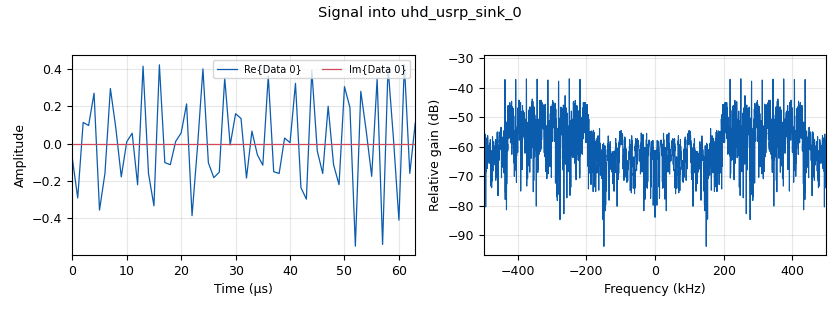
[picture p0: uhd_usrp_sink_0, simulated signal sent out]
options:
  parameters:
    author: keremenhos
    generate_options: qt_gui
    id: OFDM_1
    output_language: python
    title: OFDM_1
  states: {}

blocks:
- name: Data
  id: variable
  parameters:
    value: numpy.array(numpy.random.randint(M,size=(data_sc//2)*spf))
  states: {}
- name: M
  id: variable
  parameters:
    value: '4'
  states: {}
- name: data_sc
  id: variable
  parameters:
    value: '16'
  states: {}
- name: dsc
  id: variable
  parameters:
    value: numpy.sort(list(pdsc*-1) + list(pdsc))
  states: {}
- name: fft_len
  id: variable
  parameters:
    value: '64'
  states: {}
- name: guard
  id: variable
  parameters:
    value: fft_len-null-data_sc-pilot_sc
  states: {}
- name: noise
  id: variable_qtgui_range
  parameters:
    gui_hint: 2,2,1,2
    label: Noise Power
    orient: Qt.Horizontal
    start: '-30'
    step: '0.5'
    stop: '10'
    value: '-30'
  states: {}
- name: 'null'
  id: variable
  parameters:
    value: '25'
  states: {}
- name: pck_len
  id: variable
  parameters:
    value: '4096'
  states: {}
- name: pdsc
  id: variable
  parameters:
    value: |
      numpy.delete((numpy.arange((data_sc+pilot_sc)//2)+1+(null//2)),((numpy.arange((data_sc+pilot_sc)//2)+1+(null//2))[:, None] == ppsc).argmax(axis=0))
  states: {}
- name: pilot_sc
  id: variable
  parameters:
    value: '16'
  states: {}
- name: pilot_symbols
  id: variable
  parameters:
    value: numpy.array(numpy.random.randint(2,size=pilot_sc//2))*2 -1
  states: {}
- name: ppsc
  id: variable
  parameters:
    value: numpy.arange(-1*((data_sc+pilot_sc)//(pilot_sc*2)),((data_sc+pilot_sc)/2),((data_sc+pilot_sc)/pilot_sc))[numpy.arange(-1*((data_sc+pilot_sc)//(pilot_sc*2)),((data_sc+pilot_sc)/2),((data_sc+pilot_sc)/pilot_sc))>0].astype(int)+1+(null//2)
  states: {}
- name: ps
  id: variable
  parameters:
    value: list(numpy.flip(pilot_symbols)) + list(pilot_symbols)
  states: {}
- name: psc
  id: variable
  parameters:
    value: numpy.sort(list(ppsc*-1) + list(ppsc))
  states: {}
- name: samp_rate
  id: variable
  parameters:
    value: '1000000'
  states: {}
- name: spf
  id: variable
  parameters:
    value: (pck_len-510)//fft_len
  states: {}
- name: blocks_complex_to_float_1
  id: blocks_complex_to_float
  parameters: {}
  states: {}
- name: blocks_complex_to_mag_squared_0
  id: blocks_complex_to_mag_squared
  parameters: {}
  states: {state: disabled}
- name: blocks_float_to_complex_0
  id: blocks_float_to_complex
  parameters: {}
  states: {}
- name: blocks_float_to_complex_1
  id: blocks_float_to_complex
  parameters: {}
  states: {}
- name: blocks_keep_m_in_n_1
  id: blocks_keep_m_in_n
  parameters:
    m: fft_len*spf
    n: pck_len
    offset: '1'
    type: float
  states: {}
- name: blocks_multiply_const_vxx_0
  id: blocks_multiply_const_vxx
  parameters:
    const: 1/25
    type: complex
  states: {}
- name: blocks_null_sink_1
  id: blocks_null_sink
  parameters:
    type: complex
  states: {}
- name: blocks_stream_to_tagged_stream_0
  id: blocks_stream_to_tagged_stream
  parameters:
    len_tag_key: packet_len
    packet_len: '510'
    type: float
  states: {}
- name: blocks_stream_to_tagged_stream_0_0_0_0_0_0
  id: blocks_stream_to_tagged_stream
  parameters:
    len_tag_key: '"frame_len"'
    packet_len: data_sc
    type: complex
  states: {}
- name: blocks_stream_to_tagged_stream_1
  id: blocks_stream_to_tagged_stream
  parameters:
    len_tag_key: '"packet_len"'
    packet_len: fft_len*spf
    type: complex
  states: {}
- name: blocks_stream_to_tagged_stream_3
  id: blocks_stream_to_tagged_stream
  parameters:
    len_tag_key: sym
    packet_len: '1'
    type: complex
    vlen: fft_len
  states: {}
- name: blocks_stream_to_vector_0_0
  id: blocks_stream_to_vector
  parameters:
    num_items: fft_len
    type: complex
  states: {}
- name: blocks_tag_gate_0
  id: blocks_tag_gate
  parameters:
    propagate_tags: 'False'
    type: float
  states: {}
- name: blocks_tag_gate_1
  id: blocks_tag_gate
  parameters:
    propagate_tags: 'False'
    single_key: '"sym"'
    type: complex
  states: {}
- name: blocks_tagged_stream_mux_1
  id: blocks_tagged_stream_mux
  parameters:
    lengthtagname: packet_len
    ninputs: '2'
    type: complex
  states: {}
- name: blocks_vector_source_x_0_1
  id: blocks_vector_source_x
  parameters:
    repeat: 'True'
    type: float
    vector: '[-1,-1,-1,-1,-1,-1,-1,-1,1,-1,-1,-1,1,-1,-1,-1,1,1,-1,-1,1,-1,-1,-1,1,1,1,-1,1,-1,1,-1,1,1,-1,1,1,-1,-1,-1,1,1,1,-1,-1,-1,1,-1,-1,1,-1,1,-1,1,-1,-1,-1,1,1,-1,1,1,-1,-1,1,1,1,1,1,-1,-1,1,1,1,1,-1,-1,-1,1,-1,1,1,-1,1,1,1,-1,-1,1,-1,1,-1,-1,1,-1,-1,-1,-1,-1,1,-1,-1,1,1,-1,-1,1,1,1,-1,1,-1,-1,-1,1,1,1,1,1,-1,1,1,1,1,-1,-1,-1,-1,-1,1,1,1,1,1,1,1,1,1,-1,-1,-1,-1,1,1,1,1,-1,1,1,1,-1,-1,-1,-1,1,-1,1,1,-1,-1,1,1,-1,1,1,-1,1,1,1,1,-1,1,-1,-1,-1,-1,1,1,1,-1,-1,1,1,-1,-1,-1,-1,1,-1,-1,1,-1,-1,-1,1,-1,1,-1,1,1,1,-1,1,-1,1,1,1,1,-1,-1,1,-1,-1,1,-1,1,1,1,-1,-1,1,1,1,-1,-1,-1,-1,-1,-1,1,1,1,-1,1,1,1,-1,1,-1,-1,1,1,1,1,-1,1,-1,1,-1,-1,1,-1,1,-1,-1,-1,-1,-1,-1,1,-1,1,-1,1,-1,1,-1,1,1,1,1,1,-1,1,-1,1,1,-1,1,-1,-1,-1,-1,-1,1,1,-1,1,1,1,-1,1,1,-1,1,1,-1,1,-1,1,1,-1,-1,-1,-1,-1,1,-1,1,1,1,-1,1,1,1,1,1,-1,-1,-1,1,1,1,1,-1,-1,1,1,-1,1,-1,-1,1,1,-1,1,-1,1,1,1,-1,-1,-1,1,1,-1,1,-1,-1,-1,1,-1,1,1,1,1,1,1,1,-1,1,-1,-1,1,-1,1,1,-1,-1,-1,1,-1,1,-1,-1,1,1,-1,-1,-1,1,1,-1,-1,-1,-1,-1,-1,-1,1,1,-1,-1,1,1,-1,-1,1,-1,1,-1,1,1,-1,-1,1,-1,-1,1,1,1,1,1,1,-1,1,1,-1,1,-1,-1,1,-1,-1,1,-1,-1,1,1,-1,1,1,1,1,1,1,-1,-1,1,-1,1,1,-1,1,-1,1,-1,-1,-1,-1,1,-1,1,-1,-1,-1,1,-1,-1,1,1,1,-1,1,1,-1,-1,1,-1,1,1,1,1,-1,1,1,-1,-1,-1,-1,1,1,-1,1,-1,1,-1,1,-1,-1,1,1,1,-1,-1,1,-1,-1,-1,-1,1,1,-1,-1,-1,1,-1,-1,-1,-1]'
  states: {}
- name: blocks_vector_to_stream_0
  id: blocks_vector_to_stream
  parameters:
    num_items: fft_len
    type: complex
  states: {}
- name: blocks_vector_to_stream_0_0
  id: blocks_vector_to_stream
  parameters:
    num_items: fft_len
    type: complex
  states: {}
- name: digital_corr_est_cc_0
  id: digital_corr_est_cc
  parameters:
    mark_delay: '509'
    sps: '1'
    symbols: '[-1,-1,-1,-1,-1,-1,-1,-1,1,-1,-1,-1,1,-1,-1,-1,1,1,-1,-1,1,-1,-1,-1,1,1,1,-1,1,-1,1,-1,1,1,-1,1,1,-1,-1,-1,1,1,1,-1,-1,-1,1,-1,-1,1,-1,1,-1,1,-1,-1,-1,1,1,-1,1,1,-1,-1,1,1,1,1,1,-1,-1,1,1,1,1,-1,-1,-1,1,-1,1,1,-1,1,1,1,-1,-1,1,-1,1,-1,-1,1,-1,-1,-1,-1,-1,1,-1,-1,1,1,-1,-1,1,1,1,-1,1,-1,-1,-1,1,1,1,1,1,-1,1,1,1,1,-1,-1,-1,-1,-1,1,1,1,1,1,1,1,1,1,-1,-1,-1,-1,1,1,1,1,-1,1,1,1,-1,-1,-1,-1,1,-1,1,1,-1,-1,1,1,-1,1,1,-1,1,1,1,1,-1,1,-1,-1,-1,-1,1,1,1,-1,-1,1,1,-1,-1,-1,-1,1,-1,-1,1,-1,-1,-1,1,-1,1,-1,1,1,1,-1,1,-1,1,1,1,1,-1,-1,1,-1,-1,1,-1,1,1,1,-1,-1,1,1,1,-1,-1,-1,-1,-1,-1,1,1,1,-1,1,1,1,-1,1,-1,-1,1,1,1,1,-1,1,-1,1,-1,-1,1,-1,1,-1,-1,-1,-1,-1,-1,1,-1,1,-1,1,-1,1,-1,1,1,1,1,1,-1,1,-1,1,1,-1,1,-1,-1,-1,-1,-1,1,1,-1,1,1,1,-1,1,1,-1,1,1,-1,1,-1,1,1,-1,-1,-1,-1,-1,1,-1,1,1,1,-1,1,1,1,1,1,-1,-1,-1,1,1,1,1,-1,-1,1,1,-1,1,-1,-1,1,1,-1,1,-1,1,1,1,-1,-1,-1,1,1,-1,1,-1,-1,-1,1,-1,1,1,1,1,1,1,1,-1,1,-1,-1,1,-1,1,1,-1,-1,-1,1,-1,1,-1,-1,1,1,-1,-1,-1,1,1,-1,-1,-1,-1,-1,-1,-1,1,1,-1,-1,1,1,-1,-1,1,-1,1,-1,1,1,-1,-1,1,-1,-1,1,1,1,1,1,1,-1,1,1,-1,1,-1,-1,1,-1,-1,1,-1,-1,1,1,-1,1,1,1,1,1,1,-1,-1,1,-1,1,1,-1,1,-1,1,-1,-1,-1,-1,1,-1,1,-1,-1,-1,1,-1,-1,1,1,1,-1,1,1,-1,-1,1,-1,1,1,1,1,-1,1,1,-1,-1,-1,-1,1,1,-1,1,-1,1,-1,1,-1,-1,1,1,1,-1,-1,1,-1,-1,-1,-1,1,1,-1,-1,-1,1,-1,-1,-1,-1]'
    threshold: '0.03'
    threshold_method: digital.THRESHOLD_ABSOLUTE
  states: {}
- name: digital_ofdm_carrier_allocator_cvc_0
  id: digital_ofdm_carrier_allocator_cvc
  parameters:
    fft_len: fft_len
    len_tag_key: '"frame_len"'
    occupied_carriers: ((dsc) ,)
    output_is_shifted: 'True'
    pilot_carriers: ((psc),)
    pilot_symbols: ((ps),)
    sync_words: '[]'
  states: {}
- name: epy_block_0
  id: epy_block
  parameters:
    M: M
    _source_code: |
      """
      Embedded Python Blocks:

      Each time this file is saved, GRC will instantiate the first class it finds
      to get ports and parameters of your block. The arguments to __init__  will
      be the parameters. All of them are required to have default values!
      """

      import numpy as np
      import time
      from gnuradio import gr


      class blk(gr.sync_block):  # other base classes are basic_block, decim_block, interp_block
          """Embedded Python Block example - a simple multiply const"""

          def __init__(self, data=[], M=4, data_subcarrier=1, pilot_subcarrier=1, null_subcarrier=1, guard_subcarrier = 1, fft_size = 64, pilot_symbols=[], spf = 1):  # only default arguments here
              """arguments to this function show up as parameters in GRC"""
              gr.sync_block.__init__(
                  self,
                  name='OFDM Frame Generator',   # will show up in GRC
                  in_sig=[],
                  out_sig=[np.complex64]
              )
              self.M = M
              self.c = 0
              self.data = data
              self.data_subcarrier = data_subcarrier
              self.pilot_subcarrier = pilot_subcarrier
              self.null_subcarrier = null_subcarrier
              self.guard_subcarrier = guard_subcarrier
              self.fft_size = fft_size
              self.l = (len(self.data)//((self.data_subcarrier)/2))-1
              self.d = ((self.data_subcarrier+self.pilot_subcarrier)//2)
              self.data_buf = np.zeros(len(self.data), dtype=complex)
              self.pilot_symbols = pilot_symbols
              self.out_buf = np.zeros(len(self.data)*2, dtype=complex)
              self.spf = spf
              self.flg = 0
              
          def modulat(self, MO):
              n = np.arange(0,MO)
              a = np.asarray([x^(x>>1) for x in n])
              D = np.sqrt(MO).astype(int)
              a = np.reshape(a,(D,D))
              a[1::2, :] = a[1::2, ::-1]
              nGray=np.reshape(a,(MO))
              x1 = nGray//D
              y = nGray%D
              Ay=2*y+1-D
              Ax=2*x1+1-D
              cons = Ax+1j*Ay
              cons = cons/np.max(np.absolute((np.real(cons))))
              return cons
              
      #    def pilot_generator(self, psc, pd):
      #        pp = np.zeros(psc, dtype=complex)
      #        for i in range(psc):
      #            if pd[i] == 1:
      #                pp[i] = 1+0*1j
      #            else:
      #                pp[i] = -1+0*1j
      #        return pp

          def work(self, input_items, output_items):
              
              if self.flg == 0:
                  self.flg = 1
                  self.cons = self.modulat(self.M)
      #            self.ppos = np.arange(-1*((self.data_subcarrier+self.pilot_subcarrier)//(self.pilot_subcarrier*2)),((self.data_subcarrier+self.pilot_subcarrier)/2),((self.data_subcarrier+self.pilot_subcarrier)/self.pilot_subcarrier))
      #            self.ppos = self.ppos[self.ppos>0]
      #            self.pilots = self.pilot_generator(self.pilot_subcarrier//2, self.pilot_symbols)
              
              out = output_items[0]
              
              if len(out)<len(self.data):
      #            print(' ')
      #            print(len(out))
                  return 0
              
              for x in range(len(self.data)):
                  self.data_buf[x] = self.cons[self.data[x]]

              for z in range(self.spf*(self.data_subcarrier//2)):
                  self.out_buf[z*self.data_subcarrier:(z+1)*self.data_subcarrier] = list(np.conj(np.flip(self.data_buf[z*self.data_subcarrier//2:(z+1)*self.data_subcarrier//2]))) + list(self.data_buf[z*self.data_subcarrier//2:(z+1)*self.data_subcarrier//2])

              out[:(len(out)//len(self.out_buf))*len(self.out_buf)] = list(self.out_buf)*(len(out)//len(self.out_buf))
              return (len(out)//len(self.out_buf))*len(self.out_buf)
    data: Data
    data_subcarrier: data_sc
    fft_size: fft_len
    guard_subcarrier: guard
    null_subcarrier: 'null'
    pilot_subcarrier: pilot_sc
    pilot_symbols: pilot_symbols
    spf: spf
  states: {}
- name: epy_block_1
  id: epy_block
  parameters:
    _source_code: |
      import time
      import random
      import numpy as np

      from gnuradio import gr
      from gnuradio import gr_unittest
      from gnuradio import digital
      from gnuradio import blocks
      from gnuradio import grc
      import pmt
      import inspect

      class blk(gr.basic_block):
          def __init__(self, frame_length=1):
              
              gr.basic_block.__init__(
                  self,
                  name="Preamble Demux",
                  in_sig=[np.float32],
                  out_sig=[np.float32]
              )
              self.a = 0
              self.aa = 0
              self.buf = []
              self.off = 0
              self.det = 0
              self.flg2 = 0
              self.b = 0
              self.frame_length = frame_length
              
          def forecast(self, noutput_items, ninput_items_required):
              #setup size of input_items[i] for work call
              for i in range(len(ninput_items_required)):
                  ninput_items_required[i] = 4096
                  
          def general_work(self, input_items, output_items):
              in0 = input_items[0]
              out = output_items[0]
              
              if self.det == 0:
                  tags = self.get_tags_in_window(0, 0, len(in0))
                  for tag in tags:
                      offset = tag.offset
                      key = pmt.to_python(tag.key) # convert from PMT to python string
                      if key == 'corr_est':
                          self.off = offset
                          self.det = 1
                          self.flg2 = 0
                          self.buf.extend(in0[(self.off-self.aa)+1:])
                          break
                  if self.det == 0:
                      self.b = 0
                          
              if len(self.buf)<self.frame_length and self.det == 1 and self.flg2 == 1:
                  self.buf.extend(in0)
              
              if len(self.buf)>=self.frame_length and self.det == 1 and len(out)>=self.frame_length:
                  out[:self.frame_length] = self.buf[:self.frame_length]
                  if len(self.buf) == self.frame_length:
                      self.buf = []
                      self.det = 0
                      self.b = 1
                  else:
                      tags = self.get_tags_in_window(0, 0, len(in0))
                      for tag in tags:
                          self.offset2 = tag.offset
                          key = pmt.to_python(tag.key) # convert from PMT to python string
                          if key == 'corr_est':
                              if self.offset2 == self.off:
                                  self.buf = []
                                  self.det = 0
                                  self.b = 1
                                  break
                              else:
                                  self.off = self.offset2
                                  self.det = 1
                                  self.flg2 = 0
                                  self.buf=[]
                                  self.buf.extend(in0[(self.off-self.aa)+1:])
                                  self.b = 1
                                  break

              self.flg2 = 1
              self.aa = self.aa + len(in0)
              
              self.consume(0, len(in0)) #consume port 0 input
              
              if self.b == 0:
                  return 0
              else:
                  return self.frame_length
    frame_length: pck_len
  states: {}
- name: epy_block_2
  id: epy_block
  parameters:
    M: '4'
    _source_code: |
      """
      Embedded Python Blocks:

      Each time this file is saved, GRC will instantiate the first class it finds
      to get ports and parameters of your block. The arguments to __init__  will
      be the parameters. All of them are required to have default values!
      """

      import time
      import random
      import numpy as np

      from gnuradio import gr
      from gnuradio import gr_unittest
      from gnuradio import digital
      from gnuradio import blocks
      from gnuradio import grc
      from scipy import interpolate
      import pmt
      import inspect


      class blk(gr.basic_block):  # other base classes are basic_block, decim_block, interp_block
          """Embedded Python Block example - a simple multiply const"""

          def __init__(self, M=4, data_subcarrier=1, pilot_subcarrier=1, null_subcarrier=1, guard_subcarrier = 1, fft_size = 64, pilot_symbols=[], symbols_per_frame=1):  # only default arguments here
              """arguments to this function show up as parameters in GRC"""
              gr.basic_block.__init__(
                  self,
                  name='OFDM Receiver',   # will show up in GRC
                  in_sig=[np.complex64],
                  out_sig=[np.complex64]
              )
              # if an attribute with the same name as a parameter is found,
              # a callback is registered (properties work, too).
              self.M = M
              self.data_sc = data_subcarrier
              self.pilot_sc = pilot_subcarrier
              self.null_sc = null_subcarrier
              self.guard_sc = guard_subcarrier
              self.ffts = fft_size
              self.pilot_sym = pilot_symbols
              self.aa = 0
              self.out_buf = []
              self.data_out_buf = []
              self.sym_n = 0
              self.spf = symbols_per_frame
              self.flg = 0
              self.flg2 = 0
      #        self.n_sc = (self.data_sc+self.pilot_sc)/2
              self.n_grd = self.guard_sc//2

          def forecast(self, noutput_items, ninput_items_required):
              #setup size of input_items[i] for work call
              for i in range(len(ninput_items_required)):
                  ninput_items_required[i] = 4096
                  
          def pilot_generator(self, psc, pd):
              pp = np.zeros(psc, dtype=complex)
              for i in range(psc):
                  if pd[i] == 1:
                      pp[i] = 1+0*1j
                  else:
                      pp[i] = -1+0*1j
              return pp

          def general_work(self, input_items, output_items):

              in0 = input_items[0][:]
              out = output_items[0][:]
              
              if self.flg2 == 0:
                  self.ppos = np.arange(-1*((self.data_sc+self.pilot_sc)//(self.pilot_sc*2)),((self.data_sc+self.pilot_sc)/2),((self.data_sc+self.pilot_sc)/self.pilot_sc))
                  self.ppos = self.ppos[self.ppos>0].astype(int)
                  self.pilots = self.pilot_generator(self.pilot_sc//2, self.pilot_sym)
                  self.tx_pilot = np.concatenate((np.flip(self.pilots),self.pilots),axis=None)
                  
                  self.alli = np.array(range(self.ffts))
                  self.sc_ind = np.arange((self.n_grd+1),(self.ffts-self.n_grd))
                  self.sc_ind = np.delete(self.sc_ind,(self.sc_ind[:, None] == (np.arange(-self.null_sc//2,self.null_sc//2)+(self.ffts/2)+1)).argmax(axis=0))
                  self.sc_ind[:(np.where(self.sc_ind==((self.ffts/2)-(self.null_sc//2)-1))[0][0])+1]=np.flipud(self.sc_ind[:(np.where(self.sc_ind==((self.ffts/2)-(self.null_sc//2)-1))[0][0])+1])
                  self.alli[:(np.where(self.alli==((self.ffts/2)-1))[0][0])+1]=np.flipud(self.alli[:(np.where(self.alli==((self.ffts/2)-1))[0][0])+1])
                  self.p_ind = np.sort(np.concatenate((self.alli[self.ppos+(self.null_sc//2)],self.alli[((self.ffts//2)+(self.null_sc//2)+1+self.ppos)]),axis=None))
                  s_sc_ind = np.sort(self.sc_ind)
                  self.dsc_ind = np.delete(s_sc_ind,(s_sc_ind[:, None] == self.p_ind).argmax(axis=0))
                  self.flg2 = 1
              
              tags = self.get_tags_in_window(0, 0, len(in0))
              for tag in tags:
                  offset = tag.offset
                  key = pmt.to_python(tag.key) # convert from PMT to python string
                  if key == 'sym':
                      self.offset = offset
                      self.xx = self.p_ind + self.offset - self.aa
                      self.ch_est = np.true_divide(in0[self.xx.astype(int)],self.tx_pilot)
                      
                      self.ch_est_r = np.real(self.ch_est)
                      self.ch_est_i = np.imag(self.ch_est)
                      
                      f_r = interpolate.splrep(self.p_ind,self.ch_est_r,s=0)
                      f_i = interpolate.splrep(self.p_ind,self.ch_est_i,s=0)
                      H_r = interpolate.splev(np.sort(self.alli),f_r,der=0)
                      H_i = interpolate.splev(np.sort(self.alli),f_i,der=0)
                      H = H_r + H_i*1j

                      if sum(H_r) != 0:
                          self.sym_out = np.multiply(np.multiply((np.multiply(np.conj(H),H)**(-1)),np.conj(H)),in0[(self.offset-self.aa):(self.offset-self.aa)+self.ffts])
      #                    self.sym_out =in0[(self.offset-self.aa):(self.offset-self.aa)+self.ffts]
                          self.out_buf.extend(self.sym_out)
                          self.data_out_buf.extend(self.sym_out[self.dsc_ind[(self.data_sc//2):].astype(int)])
                          self.sym_n += 1
                          if self.flg == 0:
                              self.flg = 1
                              self.index1 = self.offset + self.dsc_ind[self.data_sc//2]
                              self.cind = 0
                          self.add_item_tag(0, (self.index1 + self.cind*(self.data_sc//2)), pmt.intern("Sym#"), pmt.intern(str(self.sym_n)))
                          self.cind += 1
      #                    print(self.nitems_written(0))
                          if self.sym_n == self.spf:
                              self.sym_n = 0
                      
              if len(self.data_out_buf)>=len(out):
                  output_items[0][:] = self.data_out_buf[:len(out)]
                  self.data_out_buf = self.data_out_buf[len(out):]
                  self.aa = self.aa + len(in0)
                  self.consume(0, len(in0))
                  return len(out)

              self.aa = self.aa + len(in0)
              self.consume(0, len(in0))
              return 0
    data_subcarrier: data_sc
    fft_size: fft_len
    guard_subcarrier: guard
    null_subcarrier: 'null'
    pilot_subcarrier: pilot_sc
    pilot_symbols: pilot_symbols
    symbols_per_frame: spf
  states: {}
- name: fft_vxx_0
  id: fft_vxx
  parameters:
    fft_size: fft_len
    forward: 'False'
    shift: 'True'
    type: complex
    window: '[]'
  states: {}
- name: fft_vxx_0_0
  id: fft_vxx
  parameters:
    fft_size: fft_len
    forward: 'True'
    shift: 'True'
    type: complex
    window: '[]'
  states: {}
- name: import_0
  id: import
  parameters:
    imports: import math,cmath,numpy, random, time
  states: {}
- name: qtgui_const_sink_x_0
  id: qtgui_const_sink_x
  parameters:
    grid: 'True'
    gui_hint: 0,0,2,2
    size: spf*(data_sc//2)
    tr_tag: '"Sym#"'
    type: complex
  states: {}
- name: qtgui_freq_sink_x_0
  id: qtgui_freq_sink_x
  parameters:
    bw: samp_rate
    fc: '0'
    fftsize: '1024'
    freqhalf: 'False'
    gui_hint: 1,2,1,2
    tr_tag: corr_est
    type: float
    wintype: firdes.WIN_BLACKMAN_hARRIS
  states: {}
- name: qtgui_time_sink_x_0
  id: qtgui_time_sink_x
  parameters:
    gui_hint: 0,2,1,2
    size: spf*(data_sc//2)
    srate: samp_rate
    tr_level: '0'
    tr_mode: qtgui.TRIG_MODE_TAG
    tr_tag: '"Sym#"'
    type: complex
    update_time: '0.1'
    ymax: '1.5'
    ymin: '-1.5'
  states: {}
- name: qtgui_time_sink_x_0_0
  id: qtgui_time_sink_x
  parameters:
    autoscale: 'True'
    size: '512'
    srate: samp_rate
    tr_mode: qtgui.TRIG_MODE_TAG
    tr_tag: corr_est
    type: float
    update_time: '0.01'
    ymax: '160000'
  states: {state: disabled}
- name: uhd_usrp_sink_0
  id: uhd_usrp_sink
  parameters:
    ant0: TX/RX
    center_freq0: '0'
    dev_args: '""'
    gain0: '0'
    len_tag_name: ''
    norm_gain0: 'False'
    samp_rate: samp_rate
    sync: none
    type: fc32
  states: {}
- name: uhd_usrp_source_0
  id: uhd_usrp_source
  parameters:
    ant0: ''
    center_freq0: '0'
    dc_offs_enb0: '""'
    dev_args: '""'
    gain0: '0'
    iq_imbal_enb0: '""'
    norm_gain0: 'False'
    samp_rate: samp_rate
    sync: none
    type: fc32
  states: {}

connections:
- [blocks_complex_to_float_1, '0', epy_block_1, '0']
- [blocks_complex_to_mag_squared_0, '0', qtgui_time_sink_x_0_0, '0']
- [blocks_float_to_complex_0, '0', blocks_tagged_stream_mux_1, '0']
- [blocks_float_to_complex_1, '0', blocks_stream_to_vector_0_0, '0']
- [blocks_keep_m_in_n_1, '0', blocks_tag_gate_0, '0']
- [blocks_keep_m_in_n_1, '0', qtgui_freq_sink_x_0, '0']
- [blocks_multiply_const_vxx_0, '0', blocks_stream_to_tagged_stream_1, '0']
- [blocks_stream_to_tagged_stream_0, '0', blocks_float_to_complex_0, '0']
- [blocks_stream_to_tagged_stream_0_0_0_0_0_0, '0', digital_ofdm_carrier_allocator_cvc_0, '0']
- [blocks_stream_to_tagged_stream_1, '0', blocks_tagged_stream_mux_1, '1']
- [blocks_stream_to_tagged_stream_3, '0', blocks_vector_to_stream_0_0, '0']
- [blocks_stream_to_vector_0_0, '0', fft_vxx_0_0, '0']
- [blocks_tag_gate_0, '0', blocks_float_to_complex_1, '0']
- [blocks_tag_gate_1, '0', blocks_null_sink_1, '0']
- [blocks_tag_gate_1, '0', qtgui_const_sink_x_0, '0']
- [blocks_tag_gate_1, '0', qtgui_time_sink_x_0, '0']
- [blocks_tagged_stream_mux_1, '0', uhd_usrp_sink_0, '0']
- [blocks_vector_source_x_0_1, '0', blocks_stream_to_tagged_stream_0, '0']
- [blocks_vector_to_stream_0, '0', blocks_multiply_const_vxx_0, '0']
- [blocks_vector_to_stream_0_0, '0', epy_block_2, '0']
- [digital_corr_est_cc_0, '0', blocks_complex_to_float_1, '0']
- [digital_corr_est_cc_0, '1', blocks_complex_to_mag_squared_0, '0']
- [digital_ofdm_carrier_allocator_cvc_0, '0', fft_vxx_0, '0']
- [epy_block_0, '0', blocks_stream_to_tagged_stream_0_0_0_0_0_0, '0']
- [epy_block_1, '0', blocks_keep_m_in_n_1, '0']
- [epy_block_2, '0', blocks_tag_gate_1, '0']
- [fft_vxx_0, '0', blocks_vector_to_stream_0, '0']
- [fft_vxx_0_0, '0', blocks_stream_to_tagged_stream_3, '0']
- [uhd_usrp_source_0, '0', digital_corr_est_cc_0, '0']

metadata:
  file_format: 1
